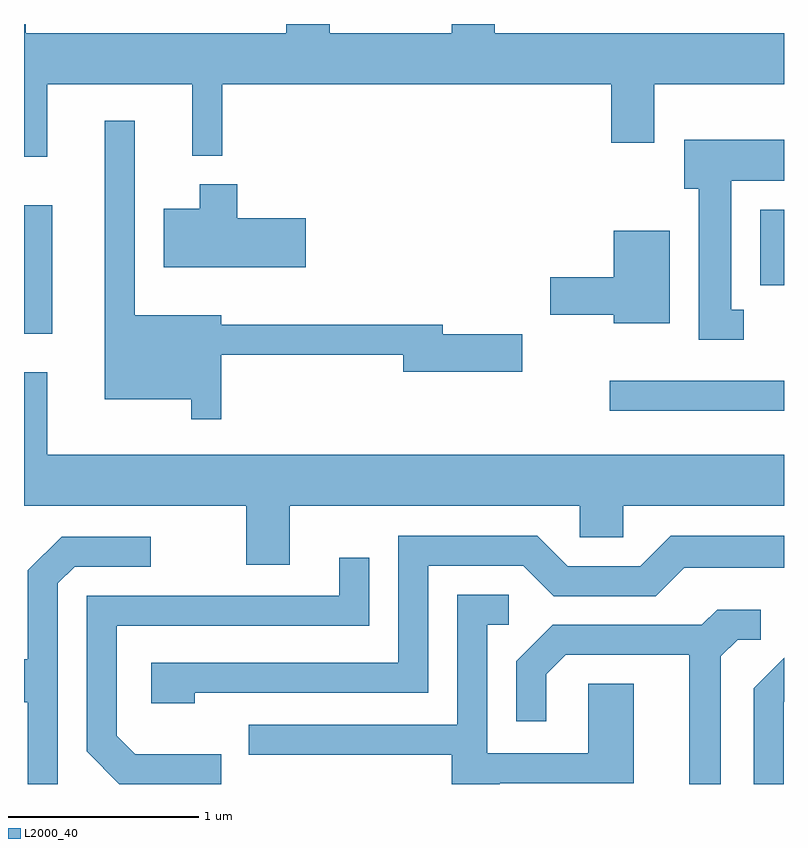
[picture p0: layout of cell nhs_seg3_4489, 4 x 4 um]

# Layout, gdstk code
import gdstk
lib = gdstk.Library(unit=1e-6, precision=1e-09)
def R(c, l, rs):  # rectangles x0, y0, x1, y1
    for r in rs: c.add(gdstk.rectangle(r[:2], r[2:], *l))
def P(c, l, *ps):  # polygons
    for p in ps: c.add(gdstk.Polygon(p, *l))
L2000_40 = (2000, 40)

nhs_seg3_4489 = lib.new_cell('nhs_seg3_4489')
R(nhs_seg3_4489, L2000_40, [(320.693,1119.856,321.611,1120.014), (317.611,1120.261,317.759,1120.939), (321.486,1120.516,321.611,1120.914)])
P(nhs_seg3_4489, L2000_40, [(317.734,1121.576),(318.496,1121.576),(318.496,1121.198),(318.654,1121.198),(318.654,1121.576),(320.701,1121.576),(320.701,1121.266),(320.929,1121.266),(320.929,1121.576),(321.611,1121.576),(321.611,1121.844),(320.089,1121.844),(320.089,1121.892),(319.861,1121.892),(319.861,1121.844),(319.219,1121.844),(319.219,1121.892),(318.991,1121.892),(318.991,1121.844),(317.619,1121.844),(317.619,1121.892),(317.611,1121.892),(317.611,1121.193),(317.734,1121.193)],
  [(318.649,1120.151),(319.606,1120.151),(319.606,1120.061),(320.234,1120.061),(320.234,1120.259),(319.814,1120.259),(319.814,1120.309),(318.649,1120.309),(318.649,1120.359),(318.194,1120.359),(318.194,1121.383),(318.036,1121.383),(318.036,1119.916),(318.491,1119.916),(318.491,1119.813),(318.649,1119.813)],
  [(321.398,1120.389),(321.334,1120.389),(321.334,1121.066),(321.611,1121.066),(321.611,1121.284),(321.086,1121.284),(321.086,1121.026),(321.161,1121.026),(321.161,1120.231),(321.398,1120.231)],
  [(319.094,1120.869),(318.734,1120.869),(318.734,1121.049),(318.536,1121.049),(318.536,1120.919),(318.346,1120.919),(318.346,1120.611),(319.094,1120.611)],
  [(321.009,1120.804),(320.716,1120.804),(320.716,1120.559),(320.381,1120.559),(320.381,1120.361),(320.716,1120.361),(320.716,1120.316),(321.009,1120.316)],
  [(319.009,1119.356),(320.536,1119.356),(320.536,1119.191),(320.764,1119.191),(320.764,1119.356),(321.611,1119.356),(321.611,1119.624),(317.734,1119.624),(317.734,1120.058),(317.611,1120.058),(317.611,1119.356),(318.781,1119.356),(318.781,1119.046),(319.009,1119.046)],
  [(318.509,1118.371),(319.739,1118.371),(319.739,1119.041),(320.239,1119.041),(320.399,1118.881),(320.937,1118.881),(321.087,1119.031),(321.611,1119.031),(321.611,1119.199),(321.014,1119.199),(320.854,1119.039),(320.472,1119.039),(320.312,1119.199),(319.581,1119.199),(319.581,1118.529),(318.281,1118.529),(318.281,1118.316),(318.509,1118.316)],
  [(317.789,1118.949),(317.877,1119.036),(318.278,1119.036),(318.278,1119.194),(317.809,1119.194),(317.631,1119.017),(317.631,1118.549),(317.611,1118.549),(317.611,1118.321),(317.631,1118.321),(317.631,1117.892),(317.789,1117.892)],
  [(318.649,1118.049),(318.197,1118.049),(318.099,1118.147),(318.099,1118.726),(319.429,1118.726),(319.429,1119.083),(319.271,1119.083),(319.271,1118.884),(317.941,1118.884),(317.941,1118.064),(318.113,1117.892),(318.649,1117.892)],
  [(320.115,1117.896),(320.819,1117.896),(320.819,1118.419),(320.581,1118.419),(320.581,1118.054),(320.049,1118.054),(320.049,1118.731),(320.163,1118.731),(320.163,1118.889),(319.891,1118.889),(319.891,1118.204),(318.793,1118.204),(318.793,1118.046),(319.861,1118.046),(319.861,1117.892),(320.115,1117.892)],
  [(321.279,1118.564),(321.367,1118.651),(321.488,1118.651),(321.488,1118.809),(321.259,1118.809),(321.179,1118.729),(320.394,1118.729),(320.201,1118.537),(320.201,1118.223),(320.359,1118.223),(320.359,1118.469),(320.462,1118.571),(321.111,1118.571),(321.111,1117.892),(321.279,1117.892)],
  [(321.609,1118.324),(321.611,1118.326),(321.611,1118.557),(321.451,1118.397),(321.451,1117.892),(321.609,1117.892)])

lib.write_gds('nhs_seg3_4489.gds')
